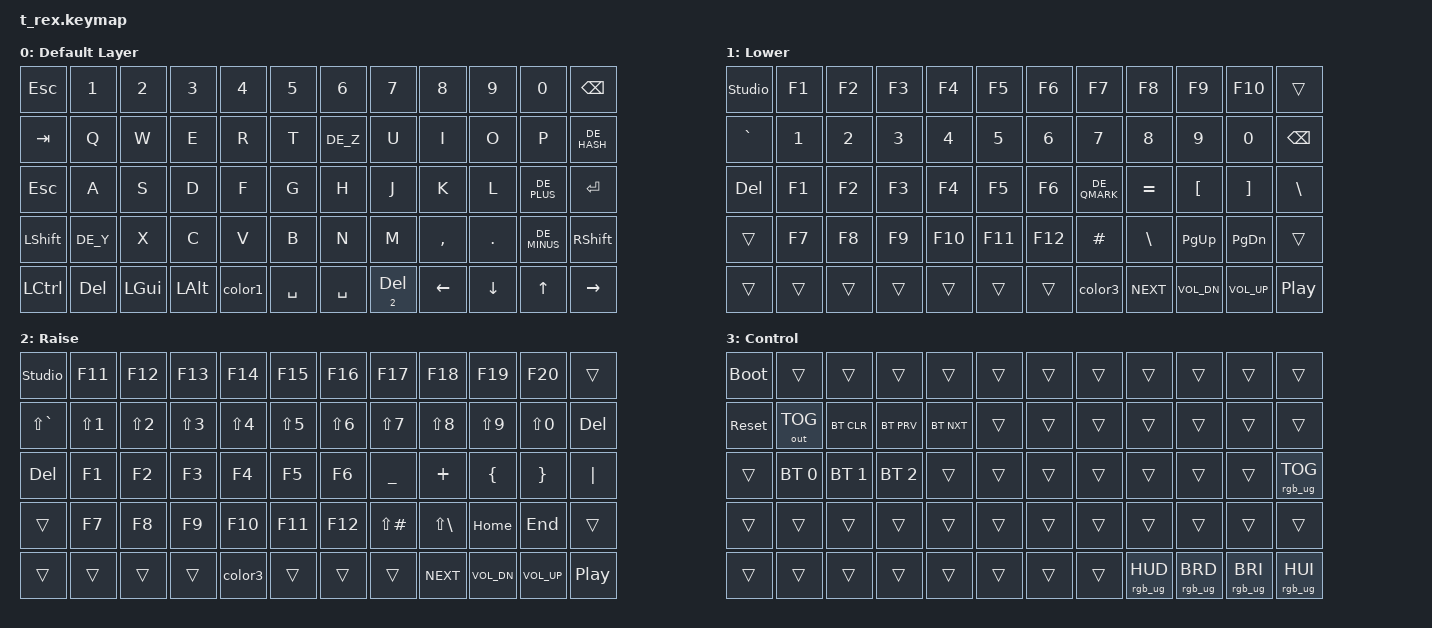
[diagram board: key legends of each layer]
/*
 * Copyright (c) 2020 The ZMK Contributors
 *
 * SPDX-License-Identifier: MIT
 */

#include <behaviors.dtsi>
#include <dt-bindings/zmk/keys.h>
#include <dt-bindings/zmk/bt.h>
#include <locale/keys_de.h>         // https://github.com/joelspadin/zmk-locales/blob/main/include/locale/keys_de.h
#include <dt-bindings/zmk/outputs.h>
#include <dt-bindings/zmk/rgb.h>

/ {
    keymap {
        compatible = "zmk,keymap";

        default_layer {
            display-name = "Default Layer";
            // |  ESC  |  1   |  2   |  3   |  4   |  5   |   6   |  7    |  8   |  9   |   0   | BSPC  |
            // |  TAB  |  Q   |  W   |  E   |  R   |  T   |   Z   |  U    |  I   |  O   |   P   |   #   |
            // |  ESC  |  A   |  S   |  D   |  F   |  G   |   H   |  J    |  K   |  L   |   ;   |  RET  |
            // | SHIFT |  Y   |  X   |  C   |  V   |  B   |   N   |  M    |  ,   |  .   |   /   | SHIFT |
            // | LCTRL | DEL  | LALT | LGUI | LOWR |     SPACE    | RAISE | LEFT | DOWN |   UP  | RIGHT |
            bindings = <
                &kp ESC   &kp N1   &kp N2   &kp N3   &kp N4 &kp N5    &kp N6    &kp N7    &kp N8    &kp N9    &kp N0     &kp BSPC
                &kp TAB   &kp Q    &kp W    &kp E    &kp R  &kp T     &kp DE_Z  &kp U     &kp I     &kp O     &kp P      &kp DE_HASH
                &kp ESC   &kp A    &kp S    &kp D    &kp F  &kp G     &kp H     &kp J     &kp K     &kp L     &kp DE_PLUS  &kp RET
                &kp LSHFT &kp DE_Y &kp X    &kp C    &kp V  &kp B     &kp N     &kp M     &kp COMMA &kp DOT   &kp DE_MINUS &kp RSHFT
                &kp LCTRL &kp DEL  &kp LGUI &kp LALT &color1  &kp SPACE &kp SPACE &lt 2 DEL &kp LEFT  &kp DOWN  &kp UP     &kp RIGHT
            >;
        };

        lower {
            display-name = "Lower";
            bindings = <
                &studio_unlock &kp F1  &kp F2  &kp F3   &kp F4  &kp F5  &kp F6  &kp F7    &kp F8    &kp F9    &kp F10   &trans
                &kp GRAVE      &kp N1  &kp N2  &kp N3   &kp N4  &kp N5  &kp N6  &kp N7    &kp N8    &kp N9    &kp N0    &kp BSPC
                &kp DEL        &kp F1  &kp F2  &kp F3   &kp F4  &kp F5  &kp F6  &kp DE_QMARK &kp EQUAL &kp LBKT  &kp RBKT  &kp BSLH
                &trans         &kp F7  &kp F8  &kp F9   &kp F10 &kp F11 &kp F12 &kp HASH  &kp BSLH  &kp PG_UP &kp PG_DN &trans
                &trans         &trans  &trans  &trans   &trans  &trans  &trans  &color3   &kp C_NEXT &kp C_VOL_DN &kp C_VOL_UP &kp C_PP
            >;
        };

        raise {
            display-name = "Raise";
            bindings = <
                &studio_unlock &kp F11  &kp F12     &kp F13     &kp F14     &kp F15     &kp F16     &kp F17     &kp F18     &kp F19     &kp F20     &trans
                &kp LS(GRAVE) &kp LS(N1) &kp LS(N2) &kp LS(N3)  &kp LS(N4)  &kp LS(N5)  &kp LS(N6)  &kp LS(N7)  &kp LS(N8)  &kp LS(N9)  &kp LS(N0)  &kp DEL
                &kp DEL     &kp F1      &kp F2      &kp F3      &kp F4      &kp F5      &kp F6      &kp UNDER   &kp PLUS    &kp LBRC    &kp RBRC    &kp PIPE
                &trans      &kp F7      &kp F8      &kp F9      &kp F10     &kp F11     &kp F12     &kp LS(HASH) &kp LS(BSLH) &kp HOME  &kp END     &trans
                &trans      &trans      &trans      &trans      &color3       &trans      &trans      &trans      &kp C_NEXT &kp C_VOL_DN &kp C_VOL_UP &kp C_PP
            >;
        };

        control {
            display-name = "Control";
            bindings = <
                &bootloader &trans      &trans      &trans      &trans      &trans &trans &trans &trans           &trans          &trans          &trans
                &sys_reset  &out OUT_TOG &bt BT_CLR &bt BT_PRV &bt BT_NXT   &trans &trans &trans &trans           &trans          &trans          &trans
                &trans      &bt BT_SEL 0 &bt BT_SEL 1 &bt BT_SEL 2 &trans   &trans &trans &trans &trans           &trans          &trans          &rgb_ug RGB_TOG
                &trans      &trans      &trans      &trans      &trans      &trans &trans &trans &trans           &trans          &trans          &trans
                &trans      &trans      &trans      &trans      &trans      &trans &trans &trans &rgb_ug RGB_HUD  &rgb_ug RGB_BRD &rgb_ug RGB_BRI &rgb_ug RGB_HUI
            >;
        };
    };
};

&led_strip {
    chain-length = <12>;
};

/ {
    combos {
        compatible = "zmk,combos";
        combo_ae {
            timeout-ms = <40>;
            key-positions = <25 15>;
            bindings = <&kp DE_A_UMLAUT>;
            layers = <0>;
        };
        combo_oe {
            timeout-ms = <40>;
            key-positions = <21 15>;
            bindings = <&kp DE_O_UMLAUT>;
            layers = <0>;
        };
        combo_ue {
            timeout-ms = <40>;
            key-positions = <19 15>;
            bindings = <&kp DE_U_UMLAUT>;
            layers = <0>;
        };
        combo_sz {
            timeout-ms = <40>;
            key-positions = <26 18>;
            bindings = <&kp DE_SZ>;
            layers = <0>;
        };
    };
};

/ {
    behaviors {
        lt: layer_tap {
            compatible = "zmk,behavior-hold-tap";
            #binding-cells = <2>;
            flavor = "hold-preferred";
            tapping-term-ms = <100>;
            bindings = <&color2>, <&kp>;
            display-name = "Layer-Tap";
        };
    };
};

/ {
    macros {
        ZMK_MACRO(color1,  
            wait-ms = <0>;  
            tap-ms = <0>;  
            bindings  
                = <&macro_press &mo 1>  
                , <&macro_tap &rgb_ug RGB_COLOR_HSB(128,100,100) &rgb_ug RGB_EFS_CMD 0>  
                , <&macro_pause_for_release>  
                , <&macro_release &mo 1>  
                , <&macro_tap &rgb_ug RGB_COLOR_HSB(300,100,50) &rgb_ug RGB_EFS_CMD 1>;  
        )

        ZMK_MACRO(color2,  
            wait-ms = <0>;  
            tap-ms = <0>;  
            bindings  
                = <&macro_press &mo 2>  
                , <&macro_tap &rgb_ug RGB_COLOR_HSB(200,100,100) &rgb_ug RGB_EFS_CMD 0>  
                , <&macro_pause_for_release>  
                , <&macro_release &mo 2>  
                , <&macro_tap &rgb_ug RGB_COLOR_HSB(300,100,50) &rgb_ug RGB_EFS_CMD 1>;  
        )

        ZMK_MACRO(color3,  
            wait-ms = <0>;  
            tap-ms = <0>;  
            bindings  
                = <&macro_press &mo 3>  
                , <&macro_tap &rgb_ug RGB_COLOR_HSB(50,100,100) &rgb_ug RGB_EFS_CMD 3 &rgb_ug RGB_SPI &rgb_ug RGB_SPI>  
                , <&macro_pause_for_release>  
                , <&macro_release &mo 3>  
                , <&macro_tap &rgb_ug RGB_COLOR_HSB(300,100,50) &rgb_ug RGB_EFS_CMD 1 &rgb_ug RGB_SPD &rgb_ug RGB_SPD>;  
        )
    };
};

